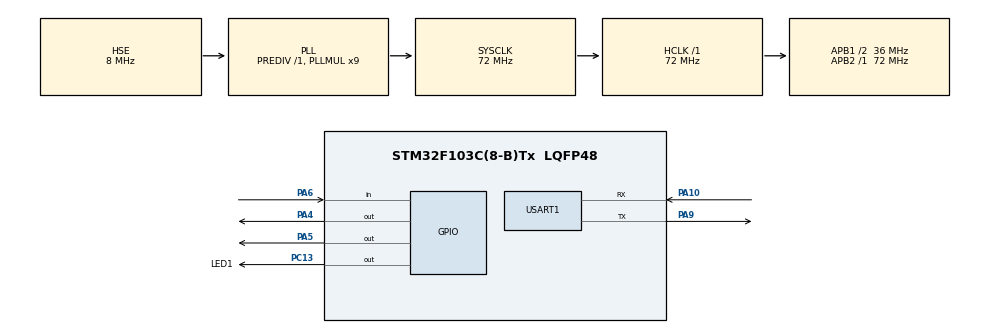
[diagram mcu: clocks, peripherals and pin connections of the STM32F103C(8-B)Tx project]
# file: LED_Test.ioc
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Dma.Request0=USART1_RX
Dma.Request1=USART1_TX
Dma.USART1_RX.0.Direction=DMA_PERIPH_TO_MEMORY
Dma.USART1_RX.0.Instance=DMA1_Channel5
Dma.USART1_RX.0.MemDataAlignment=DMA_MDATAALIGN_BYTE
Dma.USART1_RX.0.MemInc=DMA_MINC_ENABLE
Dma.USART1_RX.0.Mode=DMA_NORMAL
Dma.USART1_RX.0.PeriphDataAlignment=DMA_PDATAALIGN_BYTE
Dma.USART1_RX.0.PeriphInc=DMA_PINC_DISABLE
Dma.USART1_RX.0.Priority=DMA_PRIORITY_LOW
Dma.USART1_TX.1.Direction=DMA_MEMORY_TO_PERIPH
Dma.USART1_TX.1.Instance=DMA1_Channel4
Dma.USART1_TX.1.MemDataAlignment=DMA_MDATAALIGN_BYTE
Dma.USART1_TX.1.MemInc=DMA_MINC_ENABLE
Dma.USART1_TX.1.Mode=DMA_NORMAL
Dma.USART1_TX.1.PeriphDataAlignment=DMA_PDATAALIGN_BYTE
Dma.USART1_TX.1.PeriphInc=DMA_PINC_DISABLE
Dma.USART1_TX.1.Priority=DMA_PRIORITY_LOW
FREERTOS.Tasks01=defaultTask,0,128,StartDefaultTask,Default,NULL,Dynamic,NULL,NULL;led_test,-3,128,StartTask02,Default,NULL,Dynamic,NULL,NULL
Mcu.Family=STM32F1
Mcu.Name=STM32F103C(8-B)Tx
Mcu.Package=LQFP48
NVIC.DMA1_Channel4_IRQn=true\:5\:0\:false\:false\:true\:true\:false\:true\:true
NVIC.DMA1_Channel5_IRQn=true\:5\:0\:false\:false\:true\:true\:false\:true\:true
NVIC.PriorityGroup=NVIC_PRIORITYGROUP_4
NVIC.TIM1_UP_IRQn=true\:15\:0\:false\:false\:true\:false\:false\:true\:true
NVIC.TimeBase=TIM1_UP_IRQn
NVIC.TimeBaseIP=TIM1
NVIC.USART1_IRQn=true\:5\:0\:false\:false\:true\:true\:true\:true\:true
NVIC.WWDG_IRQn=true\:5\:0\:false\:false\:true\:true\:true\:true\:true
PA10.Mode=Asynchronous
PA10.Signal=USART1_RX
PA13.Mode=Serial_Wire
PA13.Signal=SYS_JTMS-SWDIO
PA14.Mode=Serial_Wire
PA14.Signal=SYS_JTCK-SWCLK
PA4.Signal=GPIO_Output
PA5.PinState=GPIO_PIN_SET
PA5.Signal=GPIO_Output
PA6.Signal=GPIO_Input
PA9.Mode=Asynchronous
PA9.Signal=USART1_TX
PC13-TAMPER-RTC.GPIO_Label=LED1
PC13-TAMPER-RTC.PinState=GPIO_PIN_SET
PC13-TAMPER-RTC.Signal=GPIO_Output
PD0-OSC_IN.Mode=HSE-External-Oscillator
PD0-OSC_IN.Signal=RCC_OSC_IN
PD1-OSC_OUT.Mode=HSE-External-Oscillator
PD1-OSC_OUT.Signal=RCC_OSC_OUT
ProjectManager.HeapSize=0x200
ProjectManager.StackSize=0x400
ProjectManager.TargetToolchain=MDK-ARM V5.32
RCC.AHBFreq_Value=72000000
RCC.APB1CLKDivider=RCC_HCLK_DIV2
RCC.APB1Freq_Value=36000000
RCC.APB1TimFreq_Value=72000000
RCC.APB2Freq_Value=72000000
RCC.APB2TimFreq_Value=72000000
RCC.HCLKFreq_Value=72000000
RCC.PLLMUL=RCC_PLL_MUL9
RCC.PLLSourceVirtual=RCC_PLLSOURCE_HSE
RCC.SYSCLKFreq_VALUE=72000000
RCC.SYSCLKSource=RCC_SYSCLKSOURCE_PLLCLK
RCC.USBFreq_Value=72000000
USART1.VirtualMode=VM_ASYNC
VP_FREERTOS_VS_CMSIS_V1.Mode=CMSIS_V1
VP_SYS_VS_tim1.Mode=TIM1
VP_WWDG_VS_WWDG.Mode=WWDG_Activate
WWDG.Counter=113
WWDG.EWIMode=WWDG_EWI_ENABLE
WWDG.Prescaler=WWDG_PRESCALER_8
WWDG.Window=89
board=custom

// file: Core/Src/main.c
/* USER CODE BEGIN Header */
/**
  ******************************************************************************
  * @file           : main.c
  * @brief          : Main program body
  ******************************************************************************
  * @attention
  *
  * Copyright (c) 2025 STMicroelectronics.
  * All rights reserved.
  *
  * This software is licensed under terms that can be found in the LICENSE file
  * in the root directory of this software component.
  * If no LICENSE file comes with this software, it is provided AS-IS.
  *
  ******************************************************************************
  */
/* USER CODE END Header */
#include "main.h"
#include "cmsis_os.h"
#include "dma.h"
#include "usart.h"
#include "wwdg.h"
#include "gpio.h"

/* USER CODE BEGIN Includes */
#include <stdio.h>
#include <string.h>
#include "LEDTest.h"
#include "Detect.h"
/* USER CODE END Includes */

/* USER CODE BEGIN PD */
#define RX_BUFFER_SIZE		100
/* USER CODE END PD */

/* USER CODE BEGIN PV */
static char dma_rx_buffer[100];
volatile uint16_t rx_len;
volatile _Bool data_ready_flag;
/* USER CODE END PV */

void SystemClock_Config(void);
void MX_FREERTOS_Init(void);

int main(void)
{

  /* MCU Configuration--------------------------------------------------------*/

  /* Reset of all peripherals, Initializes the Flash interface and the Systick. */
  HAL_Init();

  /* Configure the system clock */
  SystemClock_Config();

  /* Initialize all configured peripherals */
  MX_GPIO_Init();
  MX_DMA_Init();
  MX_USART1_UART_Init();
  MX_WWDG_Init();
  /* USER CODE BEGIN 2 */
  HeartDetectInit((uint8_t*) dma_rx_buffer, RX_BUFFER_SIZE);
  /* USER CODE END 2 */

  /* Call init function for freertos objects (in cmsis_os2.c) */
  MX_FREERTOS_Init();

  /* Start scheduler */
  osKernelStart();

  /* We should never get here as control is now taken by the scheduler */

  /* Infinite loop */
  while (1)
  {

  }
}

void SystemClock_Config(void)
{
  RCC_OscInitTypeDef RCC_OscInitStruct = {0};
  RCC_ClkInitTypeDef RCC_ClkInitStruct = {0};

  /** Initializes the RCC Oscillators according to the specified parameters
  * in the RCC_OscInitTypeDef structure.
  */
  RCC_OscInitStruct.OscillatorType = RCC_OSCILLATORTYPE_HSE;
  RCC_OscInitStruct.HSEState = RCC_HSE_ON;
  RCC_OscInitStruct.HSEPredivValue = RCC_HSE_PREDIV_DIV1;
  RCC_OscInitStruct.HSIState = RCC_HSI_ON;
  RCC_OscInitStruct.PLL.PLLState = RCC_PLL_ON;
  RCC_OscInitStruct.PLL.PLLSource = RCC_PLLSOURCE_HSE;
  RCC_OscInitStruct.PLL.PLLMUL = RCC_PLL_MUL9;
  if (HAL_RCC_OscConfig(&RCC_OscInitStruct) != HAL_OK)
  {
    Error_Handler();
  }

  /** Initializes the CPU, AHB and APB buses clocks
  */
  RCC_ClkInitStruct.ClockType = RCC_CLOCKTYPE_HCLK|RCC_CLOCKTYPE_SYSCLK
                              |RCC_CLOCKTYPE_PCLK1|RCC_CLOCKTYPE_PCLK2;
  RCC_ClkInitStruct.SYSCLKSource = RCC_SYSCLKSOURCE_PLLCLK;
  RCC_ClkInitStruct.AHBCLKDivider = RCC_SYSCLK_DIV1;
  RCC_ClkInitStruct.APB1CLKDivider = RCC_HCLK_DIV2;
  RCC_ClkInitStruct.APB2CLKDivider = RCC_HCLK_DIV1;

  if (HAL_RCC_ClockConfig(&RCC_ClkInitStruct, FLASH_LATENCY_2) != HAL_OK)
  {
    Error_Handler();
  }
}

/* USER CODE BEGIN 4 */
void HAL_UARTEx_RxEventCallback(UART_HandleTypeDef * huart, uint16_t Size)
{
    if(huart->Instance == USART1)
    {
        if (Size <= RX_BUFFER_SIZE)
        {
            HAL_UARTEx_ReceiveToIdle_DMA(&huart1, (uint8_t *)dma_rx_buffer, RX_BUFFER_SIZE); // 接收完毕后重启
            HAL_UART_Transmit(&huart1, (uint8_t *)dma_rx_buffer, Size, 0xffff);         // 将接收到的数据再发出

            HeartDetectReflashIT((uint8_t *)dma_rx_buffer, Size);
        }
        else  // 接收数据长度大于RX_BUFFER_SIZE，错误处理
        {

        }
    }
}

void HAL_WWDG_EarlyWakeupCallback(WWDG_HandleTypeDef *hwwdg)
{
	static int i = 0;
	i++;
	if(i > 12) {	//每隔0.48秒左右LED翻转
		i=0;
		LEDTest_Turn();
	}

   HAL_WWDG_Refresh(hwwdg);      //喂狗
}
/* USER CODE END 4 */

void HAL_TIM_PeriodElapsedCallback(TIM_HandleTypeDef *htim)
{
  if (htim->Instance == TIM1)
  {
    HAL_IncTick();
  }
}

void Error_Handler(void)
{
  __disable_irq();
  while (1)
  {
  }
}

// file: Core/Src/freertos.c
/* USER CODE BEGIN Header */
/**
  ******************************************************************************
  * File Name          : freertos.c
  * Description        : Code for freertos applications
  ******************************************************************************
  * @attention
  *
  * Copyright (c) 2025 STMicroelectronics.
  * All rights reserved.
  *
  * This software is licensed under terms that can be found in the LICENSE file
  * in the root directory of this software component.
  * If no LICENSE file comes with this software, it is provided AS-IS.
  *
  ******************************************************************************
  */
/* USER CODE END Header */

#include "FreeRTOS.h"
#include "task.h"
#include "main.h"
#include "cmsis_os.h"

/* USER CODE BEGIN Includes */
#include <stdio.h>
#include <string.h>
#include "LEDTest.h"
#include "wwdg.h"
/* USER CODE END Includes */

/* USER CODE BEGIN PD */
extern WWDG_HandleTypeDef hwwdg;
extern int wwdg_i;
/* USER CODE END PD */

/* USER CODE BEGIN Variables */
extern UART_HandleTypeDef huart1;
/* USER CODE END Variables */
osThreadId defaultTaskHandle;
osThreadId led_testHandle;

void StartDefaultTask(void const * argument);
void StartTask02(void const * argument);

void MX_FREERTOS_Init(void); /* (MISRA C 2004 rule 8.1) */

/* GetIdleTaskMemory prototype (linked to static allocation support) */
void vApplicationGetIdleTaskMemory( StaticTask_t **ppxIdleTaskTCBBuffer, StackType_t **ppxIdleTaskStackBuffer, uint32_t *pulIdleTaskStackSize );

/* USER CODE BEGIN GET_IDLE_TASK_MEMORY */
static StaticTask_t xIdleTaskTCBBuffer;
static StackType_t xIdleStack[configMINIMAL_STACK_SIZE];

void vApplicationGetIdleTaskMemory( StaticTask_t **ppxIdleTaskTCBBuffer, StackType_t **ppxIdleTaskStackBuffer, uint32_t *pulIdleTaskStackSize )
{
  *ppxIdleTaskTCBBuffer = &xIdleTaskTCBBuffer;
  *ppxIdleTaskStackBuffer = &xIdleStack[0];
  *pulIdleTaskStackSize = configMINIMAL_STACK_SIZE;
  /* place for user code */
}
/* USER CODE END GET_IDLE_TASK_MEMORY */

void MX_FREERTOS_Init(void) {

  /* Create the thread(s) */
  /* definition and creation of defaultTask */
  osThreadDef(defaultTask, StartDefaultTask, osPriorityNormal, 0, 128);
  defaultTaskHandle = osThreadCreate(osThread(defaultTask), NULL);

  /* definition and creation of led_test */
  osThreadDef(led_test, StartTask02, osPriorityIdle, 0, 128);
  led_testHandle = osThreadCreate(osThread(led_test), NULL);

}

void StartDefaultTask(void const * argument)
{
  for(;;)
  {
    osDelay(1);
  }
}

void StartTask02(void const * argument)
{
  /* USER CODE BEGIN StartTask02 */
	uint8_t pin_state = 0;
	uint32_t len = 0;
	static int num = 0;
	char uart_rbuf[100];
  /* Infinite loop */
  for(;;)
  {
//		LEDTest_Turn();
	  num ++;
	  if (num >= 100)
		  num = 0;

		pin_state = HAL_GPIO_ReadPin(GPIOA, GPIO_PIN_6);
		len = sprintf(uart_rbuf, "%d%d, timestamp:%lu, wwdg_i:%d\n", num, pin_state, xTaskGetTickCount(), wwdg_i);
		if (len > 0)
		 HAL_UART_Transmit(&huart1, (uint8_t *)uart_rbuf, len, 10);

	  osDelay(500);
  }
  /* USER CODE END StartTask02 */
}
